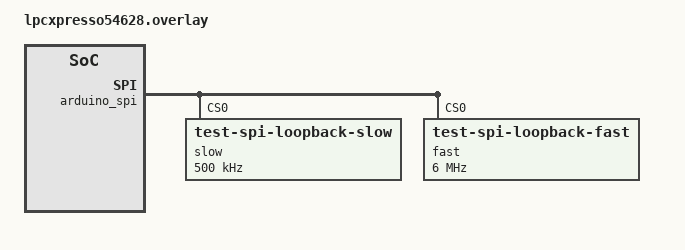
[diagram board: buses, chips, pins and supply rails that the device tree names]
/*
 * SPDX-FileCopyrightText: Copyright The Zephyr Project Contributors
 * SPDX-License-Identifier: Apache-2.0
 */

/* Requires a wire from Arduino D11 (MOSI) to D12 (MISO). */
&arduino_spi {
	slow@0 {
		compatible = "test-spi-loopback-slow";
		reg = <0>;
		spi-max-frequency = <500000>;
	};

	fast@0 {
		compatible = "test-spi-loopback-fast";
		reg = <0>;
		spi-max-frequency = <6000000>;
	};
};
